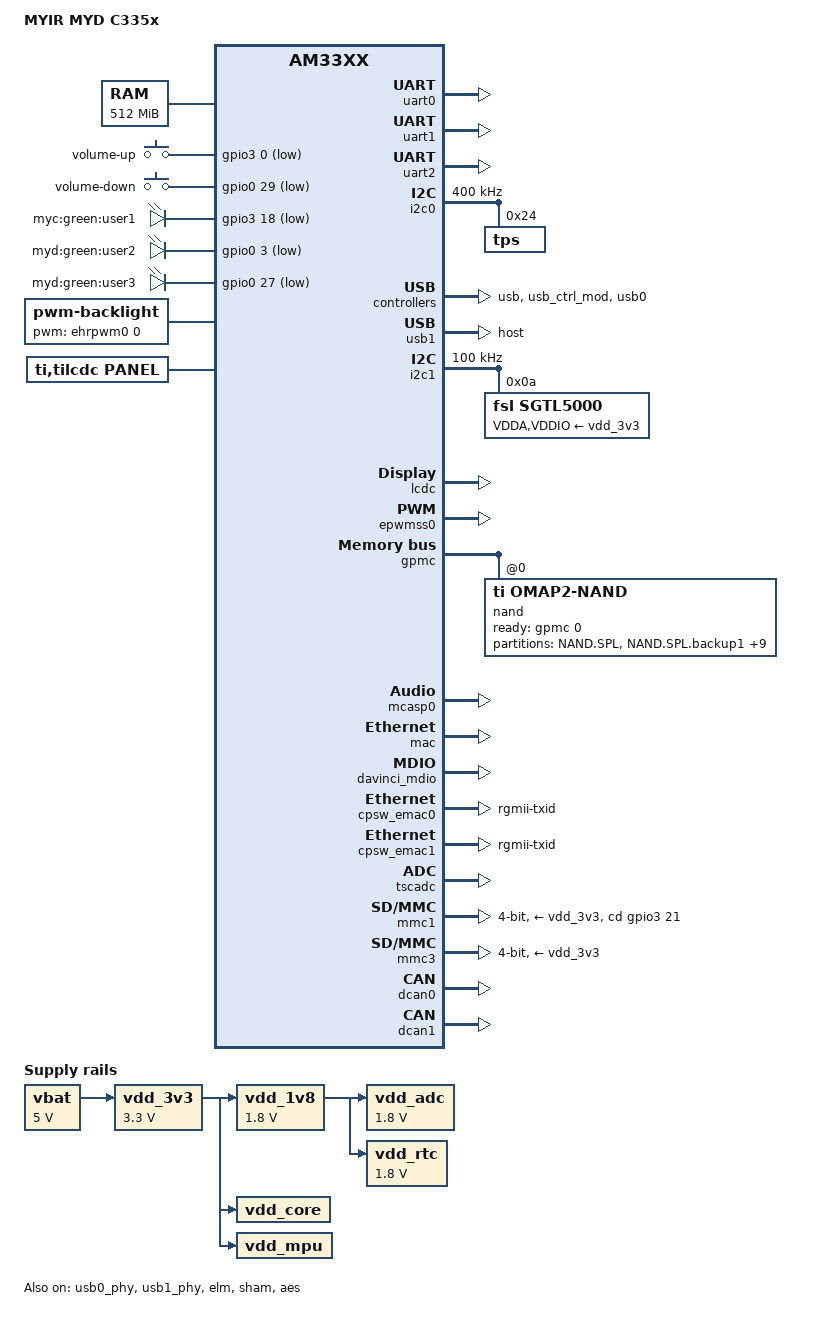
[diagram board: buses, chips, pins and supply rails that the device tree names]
/*
 * Copyright (C) 2012 Texas Instruments Incorporated - http://www.ti.com/
 *
 * This program is free software; you can redistribute it and/or modify
 * it under the terms of the GNU General Public License version 2 as
 * published by the Free Software Foundation.
 */
/dts-v1/;

#include "am33xx.dtsi"
#include <dt-bindings/interrupt-controller/irq.h>

/ {
	model = "MYIR MYD C335x";
	compatible = "ti,myd_c335x", "ti,am33xx";

	cpus {
		cpu@0 {
			cpu0-supply = <&vdd_core>;
		};
	};

	memory {
		device_type = "memory";
		reg = <0x80000000 0x20000000>; /* 512 MB */
	};

	vbat: fixedregulator@0 {
		compatible = "regulator-fixed";
		regulator-name = "vbat";
		regulator-min-microvolt = <5000000>;
		regulator-max-microvolt = <5000000>;
		regulator-boot-on;
		regulator-always-on;
	};
	
	vdd_3v3: fixedregulator@1{
		compatible = "regulator-fixed";
		regulator-name = "vdd_3v3";
		regulator-min-microvolt = <3300000>;
		regulator-max-microvolt = <3300000>;
		vin-supply = <&vbat>;
		regulator-boot-on;
		regulator-always-on;
		};
	
	vdd_1v8: fixedregulator@2{
		compatible = "regulator-fixed";
		regulator-name = "vdd_1v8";
		regulator-min-microvolt = <1800000>;
		regulator-max-microvolt = <1800000>;
		vin-supply = <&vdd_3v3>;
		regulator-boot-on;
		regulator-always-on;
		};
	
	vdd_core: fixedregulator@4{
		compatible = "regulator-fixed";
		regulator-name = "vdd_core";
		vin-supply = <&vdd_3v3>;
		regulator-boot-on;
		regulator-always-on;
		};
	
	vdd_mpu: fixedregulator@5{
		compatible = "regulator-fixed";
		regulator-name = "vdd_mpu";
		vin-supply = <&vdd_3v3>;
		regulator-boot-on;
		regulator-always-on;
		};
	
	vdd_adc: fixedregulator@6{
		compatible = "regulator-fixed";
		regulator-name = "vdd_adc";
		regulator-min-microvolt = <1800000>;
		regulator-max-microvolt = <1800000>;
		vin-supply = <&vdd_1v8>;
		regulator-boot-on;
		regulator-always-on;
		};
	
	vdd_rtc: fixedregulator@7{
		compatible = "regulator-fixed";
		regulator-name = "vdd_rtc";
		regulator-min-microvolt = <1800000>;
		regulator-max-microvolt = <1800000>;
		vin-supply = <&vdd_1v8>;
		regulator-boot-on;
		regulator-always-on;
		};

	gpio_keys: volume_keys@0 {
		compatible = "gpio-keys";
		#address-cells = <1>;
		#size-cells = <0>;
		autorepeat;

		switch@9 {
			label = "volume-up";
			linux,code = <115>;
			gpios = <&gpio3 0 GPIO_ACTIVE_LOW>;
			gpio-key,wakeup;
		};

		switch@10 {
			label = "volume-down";
			linux,code = <114>;
			gpios = <&gpio0 29 GPIO_ACTIVE_LOW>;
			gpio-key,wakeup;
		};
	};

	gpio-leds {
		compatible = "gpio-leds";
		pinctrl-names = "default";
		pinctrl-0 = <&leds_pins>;

		D3 {
			label = "myc:green:user1";
			gpios = <&gpio3 18 GPIO_ACTIVE_LOW>;
			linux,default-trigger = "cpu0";
			default-state = "off";
		};

		D39 {
			label = "myd:green:user2";
			gpios = <&gpio0 3 GPIO_ACTIVE_LOW>;
			default-state = "off";
		};

		D40 {
			label = "myd:green:user3";
			gpios = <&gpio0 27 GPIO_ACTIVE_LOW>;
			default-state = "off";
		};
	};
	
	backlight {
		compatible = "pwm-backlight";
		pwms = <&ehrpwm0 0 50000 0>;
		brightness-levels = <0 51 53 56 62 75 101 152 255>;
		default-brightness-level = <8>;
	};

	panel {
		compatible = "ti,tilcdc,panel";
		status = "okay";
		panel-info {
			ac-bias           = <255>;
			ac-bias-intrpt    = <0>;
			dma-burst-sz      = <16>;
			bpp               = <16>;
			fdd               = <0x80>;
			sync-edge         = <0>;
			sync-ctrl         = <1>;
			raster-order      = <0>;
			fifo-th           = <0>;
		};

		display-timings {
			800x480p62 {
				clock-frequency = <30000000>;
				hactive = <800>;
				vactive = <480>;
				hfront-porch = <39>;
				hback-porch = <39>;
				hsync-len = <47>;
				vback-porch = <29>;
				vfront-porch = <13>;
				vsync-len = <2>;
				hsync-active = <1>;
				vsync-active = <1>;
			};
		};
	};
	
	sound {
		compatible = "ti,sgtl5000-myd-audio";
		ti,model = "AM335x-MYD";
		ti,audio-codec = <&sgtl5000>;
		ti,mcasp-controller = <&mcasp0>;
		ti,codec-clock-rate = <12000000>;
		ti,audio-routing =
			"MIC_IN", "Mic Jack",
			"Mic Jack", "Mic Bias",
			"Headphone Jack", "HP_OUT";
	};
};

&am33xx_pinmux {
	pinctrl-names = "default";
	pinctrl-0 = <&volume_keys_s0>;

	volume_keys_s0: volume_keys_s0 {
		pinctrl-single,pins = <
			0x108 (PIN_INPUT_PULLDOWN | MUX_MODE7)	/* (H16) gmii1_col.gpio3[0] */
			0x144 (PIN_INPUT | MUX_MODE7 ) /* (H18) rmii1_refclk.gpio0[29] */
		>;
	};
	
	leds_pins: pinmux_leds_pins {
		pinctrl-single,pins = <
			0x154 (PIN_OUTPUT_PULLDOWN | MUX_MODE7)	/* spio_d0.gpio0_03 */
			0x2C (PIN_OUTPUT_PULLDOWN | MUX_MODE7)
			0x1A0 (PIN_OUTPUT_PULLDOWN | MUX_MODE7)
		>;
	};
	
	i2c0_pins: pinmux_i2c0_pins {
		pinctrl-single,pins = <
			0x188 (PIN_INPUT_PULLUP | MUX_MODE0)	/* i2c0_sda.i2c0_sda */
			0x18c (PIN_INPUT_PULLUP | MUX_MODE0)	/* i2c0_scl.i2c0_scl */
		>;
	};

	i2c1_pins_default: pinmux_i2c1_pins {
		pinctrl-single,pins = <
			0x158 (PIN_INPUT_PULLUP | MUX_MODE2)	/* spi0_d1.i2c1_sda */
			0x15c (PIN_INPUT_PULLUP | MUX_MODE2)	/* spi0_cs0.i2c1_scl */
		>;
	};

	i2c1_pins_sleep: i2c1_pins_sleep {
		pinctrl-single,pins = <
			0x158 (PIN_INPUT_PULLDOWN | MUX_MODE7)	/* spi0_d1.i2c1_sda */
			0x15c (PIN_INPUT_PULLDOWN | MUX_MODE7)	/* spi0_cs0.i2c1_scl */
		>;
	};

	uart0_pins: pinmux_uart0_pins {
		pinctrl-single,pins = <
			0x170 (PIN_INPUT_PULLUP | MUX_MODE0)	/* uart0_rxd.uart0_rxd */
			0x174 (PIN_OUTPUT_PULLDOWN | MUX_MODE0)	/* uart0_txd.uart0_txd */
		>;
	};

    uart1_pins_default: pinmux_uart1_pins_default {
        pinctrl-single,pins = <
			0x180 (PIN_INPUT_PULLUP | MUX_MODE0)    /* uart1_rxd.uart1_rxd */
			0x184 (PIN_OUTPUT_PULLDOWN | MUX_MODE0)         /* uart1_txd.uart1_txd */
                >;
        };

    uart1_pins_sleep: pinmux_uart1_pins_sleep {
		pinctrl-single,pins = <
			0x180 (PIN_INPUT_PULLDOWN | MUX_MODE7)
			0x184 (PIN_INPUT_PULLDOWN | MUX_MODE7)
                >;
        };


	uart2_pins_default: pinmux_uart2_pins_default {
		pinctrl-single,pins = <
			0x10c ( PIN_INPUT | MUX_MODE6 ) /* (H17) gmii1_crs.uart2_rxd */
			0x110 ( PIN_OUTPUT | MUX_MODE6 ) /* (J15) gmii1_rxer.uart2_txd */
		>;
	};

	uart2_pins_sleep: pinmux_uart2_pins_sleep {
		pinctrl-single,pins = <
			0x10C (PIN_INPUT_PULLDOWN | MUX_MODE7)
			0x110 (PIN_INPUT_PULLDOWN | MUX_MODE7)
		>;
	};

	nandflash_pins_default: nandflash_pins_default {
		pinctrl-single,pins = <
			0x0 (PIN_INPUT_PULLUP | MUX_MODE0)	/* gpmc_ad0.gpmc_ad0 */
			0x4 (PIN_INPUT_PULLUP | MUX_MODE0)	/* gpmc_ad1.gpmc_ad1 */
			0x8 (PIN_INPUT_PULLUP | MUX_MODE0)	/* gpmc_ad2.gpmc_ad2 */
			0xc (PIN_INPUT_PULLUP | MUX_MODE0)	/* gpmc_ad3.gpmc_ad3 */
			0x10 (PIN_INPUT_PULLUP | MUX_MODE0)	/* gpmc_ad4.gpmc_ad4 */
			0x14 (PIN_INPUT_PULLUP | MUX_MODE0)	/* gpmc_ad5.gpmc_ad5 */
			0x18 (PIN_INPUT_PULLUP | MUX_MODE0)	/* gpmc_ad6.gpmc_ad6 */
			0x1c (PIN_INPUT_PULLUP | MUX_MODE0)	/* gpmc_ad7.gpmc_ad7 */
			0x70 (PIN_INPUT_PULLUP | MUX_MODE0)	/* gpmc_wait0.gpmc_wait0 */
			0x74 (PIN_INPUT_PULLUP | MUX_MODE7)	/* gpmc_wpn.gpio0_30 */
			0x7c (PIN_OUTPUT | MUX_MODE0)		/* gpmc_csn0.gpmc_csn0  */
			0x90 (PIN_OUTPUT | MUX_MODE0)		/* gpmc_advn_ale.gpmc_advn_ale */
			0x94 (PIN_OUTPUT | MUX_MODE0)		/* gpmc_oen_ren.gpmc_oen_ren */
			0x98 (PIN_OUTPUT | MUX_MODE0)		/* gpmc_wen.gpmc_wen */
			0x9c (PIN_OUTPUT | MUX_MODE0)		/* gpmc_be0n_cle.gpmc_be0n_cle */
		>;
	};

	nandflash_pins_sleep: nandflash_pins_sleep {
		pinctrl-single,pins = <
			0x0 (PIN_INPUT_PULLDOWN | MUX_MODE7)
			0x4 (PIN_INPUT_PULLDOWN | MUX_MODE7)
			0x8 (PIN_INPUT_PULLDOWN | MUX_MODE7)
			0xc (PIN_INPUT_PULLDOWN | MUX_MODE7)
			0x10 (PIN_INPUT_PULLDOWN | MUX_MODE7)
			0x14 (PIN_INPUT_PULLDOWN | MUX_MODE7)
			0x18 (PIN_INPUT_PULLDOWN | MUX_MODE7)
			0x1c (PIN_INPUT_PULLDOWN | MUX_MODE7)
			0x70 (PIN_INPUT_PULLDOWN | MUX_MODE7)
			0x74 (PIN_INPUT_PULLDOWN | MUX_MODE7)
			0x7c (PIN_INPUT_PULLDOWN | MUX_MODE7)
			0x90 (PIN_INPUT_PULLDOWN | MUX_MODE7)
			0x94 (PIN_INPUT_PULLDOWN | MUX_MODE7)
			0x98 (PIN_INPUT_PULLDOWN | MUX_MODE7)
			0x9c (PIN_INPUT_PULLDOWN | MUX_MODE7)
		>;
	};

	ehrpwm0_pins_default: backlight_pins {
		pinctrl-single,pins = <
			0x150 0x3	/* (A17) spi0_sclk.ehrpwm0A */
		>;
	};

	ehrpwm0_pins_sleep: ehrpwm0_pins_sleep {
		pinctrl-single,pins = <
			0x150  (PIN_INPUT_PULLDOWN | MUX_MODE3)	/* (A17) spi0_sclk.ehrpwm0A */
		>;
	};

	cpsw_default: cpsw_default {
		pinctrl-single,pins = <
			/* Slave 1 */
			0x114 (PIN_OUTPUT_PULLDOWN | MUX_MODE2)	/* mii1_txen.rgmii1_tctl */
			0x118 (PIN_INPUT_PULLDOWN | MUX_MODE2)	/* mii1_rxdv.rgmii1_rctl */
			0x11c (PIN_OUTPUT_PULLDOWN | MUX_MODE2)	/* mii1_txd3.rgmii1_td3 */
			0x120 (PIN_OUTPUT_PULLDOWN | MUX_MODE2)	/* mii1_txd2.rgmii1_td2 */
			0x124 (PIN_OUTPUT_PULLDOWN | MUX_MODE2)	/* mii1_txd1.rgmii1_td1 */
			0x128 (PIN_OUTPUT_PULLDOWN | MUX_MODE2)	/* mii1_txd0.rgmii1_td0 */
			0x12c (PIN_OUTPUT_PULLDOWN | MUX_MODE2)	/* mii1_txclk.rgmii1_tclk */
			0x130 (PIN_INPUT_PULLDOWN | MUX_MODE2)	/* mii1_rxclk.rgmii1_rclk */
			0x134 (PIN_INPUT_PULLDOWN | MUX_MODE2)	/* mii1_rxd3.rgmii1_rd3 */
			0x138 (PIN_INPUT_PULLDOWN | MUX_MODE2)	/* mii1_rxd2.rgmii1_rd2 */
			0x13c (PIN_INPUT_PULLDOWN | MUX_MODE2)	/* mii1_rxd1.rgmii1_rd1 */
			0x140 (PIN_INPUT_PULLDOWN | MUX_MODE2)	/* mii1_rxd0.rgmii1_rd0 */
		/* Slave 2 */
	 		0x40  (MUX_MODE2 | PIN_OUTPUT_PULLDOWN)  /* gpmc_a0.rgmii2_tctl */
			0x44  (MUX_MODE2 | PIN_INPUT_PULLDOWN) /* gpmc_a1.rgmii2_rctl */
			0x48  (MUX_MODE2 | PIN_OUTPUT_PULLDOWN) /* gpmc_a2.rgmii2_td3 */
			0x4c  (MUX_MODE2 | PIN_OUTPUT_PULLDOWN) /* gpmc_a3.rgmii2_td2 */
			0x50  (MUX_MODE2 | PIN_OUTPUT_PULLDOWN) /* gpmc_a4.rgmii2_td1 */
			0x54  (MUX_MODE2 | PIN_OUTPUT_PULLDOWN) /* gpmc_a5.rgmii2_td0 */
			0x58  (MUX_MODE2 | PIN_OUTPUT_PULLDOWN) /* gpmc_a6.rgmii2_tclk */
			0x5c  (MUX_MODE2 | PIN_INPUT_PULLDOWN) /* gpmc_a7.rgmii2_rclk */
			0x60  (MUX_MODE2 | PIN_INPUT_PULLDOWN) /* gpmc_a8.rgmii2_rd3 */
			0x64  (MUX_MODE2 | PIN_INPUT_PULLDOWN) /* gpmc_a9.rgmii2_rd2 */
			0x68  (MUX_MODE2 | PIN_INPUT_PULLDOWN) /* gpmc_a10.rgmii2_rd1 */
			0x6c  (MUX_MODE2 | PIN_INPUT_PULLDOWN) /* gpmc_a11.rgmii2_rd0 */

		>;
	};

	cpsw_sleep: cpsw_sleep {
		pinctrl-single,pins = <
			/* Slave 1 reset value */
			0x114 (PIN_INPUT_PULLDOWN | MUX_MODE7)
			0x118 (PIN_INPUT_PULLDOWN | MUX_MODE7)
			0x11c (PIN_INPUT_PULLDOWN | MUX_MODE7)
			0x120 (PIN_INPUT_PULLDOWN | MUX_MODE7)
			0x124 (PIN_INPUT_PULLDOWN | MUX_MODE7)
			0x128 (PIN_INPUT_PULLDOWN | MUX_MODE7)
			0x12c (PIN_INPUT_PULLDOWN | MUX_MODE7)
			0x130 (PIN_INPUT_PULLDOWN | MUX_MODE7)
			0x134 (PIN_INPUT_PULLDOWN | MUX_MODE7)
			0x138 (PIN_INPUT_PULLDOWN | MUX_MODE7)
			0x13c (PIN_INPUT_PULLDOWN | MUX_MODE7)
			0x140 (PIN_INPUT_PULLDOWN | MUX_MODE7)
		/* Slave 2 reset value */
	 		0x40  (PIN_INPUT_PULLDOWN | MUX_MODE7)  /* gpmc_a0.rgmii2_tctl */
			0x44  (PIN_INPUT_PULLDOWN | MUX_MODE7) /* gpmc_a1.rgmii2_rctl */
			0x48  (PIN_INPUT_PULLDOWN | MUX_MODE7) /* gpmc_a2.rgmii2_td3 */
			0x4c  (PIN_INPUT_PULLDOWN | MUX_MODE7) /* gpmc_a3.rgmii2_td2 */
			0x50  (PIN_INPUT_PULLDOWN | MUX_MODE7) /* gpmc_a4.rgmii2_td1 */
			0x54  (PIN_INPUT_PULLDOWN | MUX_MODE7) /* gpmc_a5.rgmii2_td0 */
			0x58  (PIN_INPUT_PULLDOWN | MUX_MODE7) /* gpmc_a6.rgmii2_tclk */
			0x5c  (PIN_INPUT_PULLDOWN | MUX_MODE7) /* gpmc_a7.rgmii2_rclk */
			0x60  (PIN_INPUT_PULLDOWN | MUX_MODE7) /* gpmc_a8.rgmii2_rd3 */
			0x64  (PIN_INPUT_PULLDOWN | MUX_MODE7) /* gpmc_a9.rgmii2_rd2 */
			0x68  (PIN_INPUT_PULLDOWN | MUX_MODE7) /* gpmc_a10.rgmii2_rd1 */
			0x6c  (PIN_INPUT_PULLDOWN | MUX_MODE7) /* gpmc_a11.rgmii2_rd0 */
		>;
	};

	davinci_mdio_default: davinci_mdio_default {
		pinctrl-single,pins = <
			/* MDIO */
			0x148 (PIN_INPUT_PULLUP | SLEWCTRL_FAST | MUX_MODE0)	/* mdio_data.mdio_data */
			0x14c (PIN_OUTPUT_PULLUP | MUX_MODE0)			/* mdio_clk.mdio_clk */
		>;
	};

	davinci_mdio_sleep: davinci_mdio_sleep {
		pinctrl-single,pins = <
			/* MDIO reset value */
			0x148 (PIN_INPUT_PULLDOWN | MUX_MODE7)
			0x14c (PIN_INPUT_PULLDOWN | MUX_MODE7)
		>;
	};

	mmc1_pins_default: pinmux_mmc1_pins {
		pinctrl-single,pins = <
			0x0F0 (PIN_INPUT_PULLUP | MUX_MODE0)    /* mmc0_dat3.mmc0_dat3 */
			0x0F4 (PIN_INPUT_PULLUP | MUX_MODE0)    /* mmc0_dat2.mmc0_dat2 */
			0x0F8 (PIN_INPUT_PULLUP | MUX_MODE0)    /* mmc0_dat1.mmc0_dat1 */
			0x0FC (PIN_INPUT_PULLUP | MUX_MODE0)    /* mmc0_dat0.mmc0_dat0 */
			0x100 (PIN_INPUT_PULLUP | MUX_MODE0)    /* mmc0_clk.mmc0_clk */
			0x104 (PIN_INPUT_PULLUP | MUX_MODE0)    /* mmc0_cmd.mmc0_cmd */
			0x1AC (PIN_INPUT_PULLUP | MUX_MODE7)    /* mcasp0_ahclkx.gpio3_21 */
			
		>;
	};

	mmc1_pins_sleep: pinmux_mmc1_pins_sleep {
		pinctrl-single,pins = <
			0x0F0 (PIN_INPUT_PULLDOWN | MUX_MODE7)
			0x0F4 (PIN_INPUT_PULLDOWN | MUX_MODE7)
			0x0F8 (PIN_INPUT_PULLDOWN | MUX_MODE7)
			0x0FC (PIN_INPUT_PULLDOWN | MUX_MODE7)
			0x100 (PIN_INPUT_PULLDOWN | MUX_MODE7)
			0x104 (PIN_INPUT_PULLDOWN | MUX_MODE7)
			0x1AC (PIN_INPUT_PULLDOWN | MUX_MODE7)
		>;
	};

	/* wl12xx/wl18xx card on mmc3 */
	mmc3_pins: pinmux_mmc3_pins {
		pinctrl-single,pins = <
			0x30 (PIN_INPUT_PULLUP | MUX_MODE3)	/* gpmc_a12.mmc2_dat0, INPUT_PULLUP | MODE3 */
			0x34 (PIN_INPUT_PULLUP | MUX_MODE3)	/* gpmc_a13.mmc2_dat1, INPUT_PULLUP | MODE3 */
			0x38 (PIN_INPUT_PULLUP | MUX_MODE3)	/* gpmc_a14.mmc2_dat2, INPUT_PULLUP | MODE3 */
			0x3c (PIN_INPUT_PULLUP | MUX_MODE3)	/* gpmc_a15.mmc2_dat3, INPUT_PULLUP | MODE3 */
			0x88 (PIN_INPUT_PULLUP | MUX_MODE3)	/* gpmc_csn3.mmc2_cmd, INPUT_PULLUP | MODE3 */
			0x8C (PIN_INPUT_PULLUP | MUX_MODE3)	/* gpmc_clk.mmc2_clk, INPUT_PULLUP | MODE3 */
		>;
	};

	/* wl12xx/wl18xx card enable/irq GPIOs. */
	wlan_pins: pinmux_wlan_pins {
		pinctrl-single,pins = <
			0x20 (PIN_OUTPUT_PULLDOWN | MUX_MODE7)	/* WLAN_EN gpmc_ad7.gpio0_22 */
			0x24 (PIN_INPUT | MUX_MODE7)		/* BT_EN gpmc_ad9.gpio0_23 */
		>;
	};

	lcd_pins_default: lcd_pins_default {
		pinctrl-single,pins = <
//			0x20 (PIN_OUTPUT | MUX_MODE1)		/* gpmc_ad8.lcd_data23 */
//			0x24 (PIN_OUTPUT | MUX_MODE1)		/* gpmc_ad9.lcd_data22 */
//			0x28 (PIN_OUTPUT | MUX_MODE1)		/* gpmc_ad10.lcd_data21 */
//			0x2c (PIN_OUTPUT | MUX_MODE1)		/* gpmc_ad11.lcd_data20 */
//			0x30 (PIN_OUTPUT | MUX_MODE1)		/* gpmc_ad12.lcd_data19 */
//			0x34 (PIN_OUTPUT | MUX_MODE1)		/* gpmc_ad13.lcd_data18 */
//			0x38 (PIN_OUTPUT | MUX_MODE1)		/* gpmc_ad14.lcd_data17 */
//			0x3c (PIN_OUTPUT | MUX_MODE1)		/* gpmc_ad15.lcd_data16 */
			0xa0 (PIN_OUTPUT | MUX_MODE0)		/* lcd_data0.lcd_data0 */
			0xa4 (PIN_OUTPUT | MUX_MODE0)		/* lcd_data1.lcd_data1 */
			0xa8 (PIN_OUTPUT | MUX_MODE0)		/* lcd_data2.lcd_data2 */
			0xac (PIN_OUTPUT | MUX_MODE0)		/* lcd_data3.lcd_data3 */
			0xb0 (PIN_OUTPUT | MUX_MODE0)		/* lcd_data4.lcd_data4 */
			0xb4 (PIN_OUTPUT | MUX_MODE0)		/* lcd_data5.lcd_data5 */
			0xb8 (PIN_OUTPUT | MUX_MODE0)		/* lcd_data6.lcd_data6 */
			0xbc (PIN_OUTPUT | MUX_MODE0)		/* lcd_data7.lcd_data7 */
			0xc0 (PIN_OUTPUT | MUX_MODE0)		/* lcd_data8.lcd_data8 */
			0xc4 (PIN_OUTPUT | MUX_MODE0)		/* lcd_data9.lcd_data9 */
			0xc8 (PIN_OUTPUT | MUX_MODE0)		/* lcd_data10.lcd_data10 */
			0xcc (PIN_OUTPUT | MUX_MODE0)		/* lcd_data11.lcd_data11 */
			0xd0 (PIN_OUTPUT | MUX_MODE0)		/* lcd_data12.lcd_data12 */
			0xd4 (PIN_OUTPUT | MUX_MODE0)		/* lcd_data13.lcd_data13 */
			0xd8 (PIN_OUTPUT | MUX_MODE0)		/* lcd_data14.lcd_data14 */
			0xdc (PIN_OUTPUT | MUX_MODE0)		/* lcd_data15.lcd_data15 */
			0xe0 (PIN_OUTPUT | MUX_MODE0)		/* lcd_vsync.lcd_vsync */
			0xe4 (PIN_OUTPUT | MUX_MODE0)		/* lcd_hsync.lcd_hsync */
			0xe8 (PIN_OUTPUT | MUX_MODE0)		/* lcd_pclk.lcd_pclk */
			0xec (PIN_OUTPUT | MUX_MODE0)		/* lcd_ac_bias_en.lcd_ac_bias_en */
		>;
	};

	lcd_pins_sleep: lcd_pins_sleep {
		pinctrl-single,pins = <
//			0x20 (PIN_INPUT_PULLDOWN | MUX_MODE7)	/* gpmc_ad8.lcd_data16 */
//			0x24 (PIN_INPUT_PULLDOWN | MUX_MODE7)	/* gpmc_ad9.lcd_data17 */
//			0x28 (PIN_INPUT_PULLDOWN | MUX_MODE7)	/* gpmc_ad10.lcd_data18 */
//			0x2c (PIN_INPUT_PULLDOWN | MUX_MODE7)	/* gpmc_ad11.lcd_data19 */
//			0x30 (PIN_INPUT_PULLDOWN | MUX_MODE7)	/* gpmc_ad12.lcd_data20 */
//			0x34 (PIN_INPUT_PULLDOWN | MUX_MODE7)	/* gpmc_ad13.lcd_data21 */
//			0x38 (PIN_INPUT_PULLDOWN | MUX_MODE7)	/* gpmc_ad14.lcd_data22 */
//			0x3c (PIN_INPUT_PULLDOWN | MUX_MODE7)	/* gpmc_ad15.lcd_data23 */
			0xa0 (PULL_DISABLE | MUX_MODE7)		/* lcd_data0.lcd_data0 */
			0xa4 (PULL_DISABLE | MUX_MODE7)		/* lcd_data1.lcd_data1 */
			0xa8 (PULL_DISABLE | MUX_MODE7)		/* lcd_data2.lcd_data2 */
			0xac (PULL_DISABLE | MUX_MODE7)		/* lcd_data3.lcd_data3 */
			0xb0 (PULL_DISABLE | MUX_MODE7)		/* lcd_data4.lcd_data4 */
			0xb4 (PULL_DISABLE | MUX_MODE7)		/* lcd_data5.lcd_data5 */
			0xb8 (PULL_DISABLE | MUX_MODE7)		/* lcd_data6.lcd_data6 */
			0xbc (PULL_DISABLE | MUX_MODE7)		/* lcd_data7.lcd_data7 */
			0xc0 (PULL_DISABLE | MUX_MODE7)		/* lcd_data8.lcd_data8 */
			0xc4 (PULL_DISABLE | MUX_MODE7)		/* lcd_data9.lcd_data9 */
			0xc8 (PULL_DISABLE | MUX_MODE7)		/* lcd_data10.lcd_data10 */
			0xcc (PULL_DISABLE | MUX_MODE7)		/* lcd_data11.lcd_data11 */
			0xd0 (PULL_DISABLE | MUX_MODE7)		/* lcd_data12.lcd_data12 */
			0xd4 (PULL_DISABLE | MUX_MODE7)		/* lcd_data13.lcd_data13 */
			0xd8 (PULL_DISABLE | MUX_MODE7)		/* lcd_data14.lcd_data14 */
			0xdc (PULL_DISABLE | MUX_MODE7)		/* lcd_data15.lcd_data15 */
			0xe0 (PIN_INPUT_PULLDOWN | MUX_MODE7)	/* lcd_vsync.lcd_vsync, OUTPUT | MODE0 */
			0xe4 (PIN_INPUT_PULLDOWN | MUX_MODE7)	/* lcd_hsync.lcd_hsync */
			0xe8 (PIN_INPUT_PULLDOWN | MUX_MODE7)	/* lcd_pclk.lcd_pclk */
			0xec (PIN_INPUT_PULLDOWN | MUX_MODE7)	/* lcd_ac_bias_en.lcd_ac_bias_en */
		>;
	};

	am335x_evm_audio_pins: am335x_evm_audio_pins {
		pinctrl-single,pins = <
			0x190 (PIN_INPUT_PULLDOWN | MUX_MODE0) /* A13 "mcasp0_aclkx.mcasp0_aclkx" */
			0x194 (PIN_INPUT_PULLDOWN | MUX_MODE0) /* B13 "mcasp0_fsx.mcasp0_fsx" */
			0x19c (PIN_INPUT_PULLDOWN | MUX_MODE2) /* C12  "mcasp0_ahclkr.mcasp0_axr2" */
			0x1a8 (PIN_INPUT_PULLDOWN | MUX_MODE0) /* D13 "mcasp0_axr1.mcasp0_axr1" */
		>;
	};

	am335x_evm_audio_pins_sleep: am335x_evm_audio_pins_sleep {
		pinctrl-single,pins = <
			0x190 (PIN_INPUT_PULLDOWN | MUX_MODE7) /* A13 "mcasp0_aclkx.mcasp0_aclkx" */
			0x194 (PIN_INPUT_PULLDOWN | MUX_MODE7) /* B13 "mcasp0_fsx.mcasp0_fsx" */
			0x19c (PIN_INPUT_PULLDOWN | MUX_MODE7) /* C12  "mcasp0_ahclkr.mcasp0_axr2" */
			0x1a8 (PIN_INPUT_PULLDOWN | MUX_MODE7) /* D13 "mcasp0_axr1.mcasp0_axr1" */
		>;
	};

	dcan0_pins_default: dcan0_pins_default {
		pinctrl-single,pins = <
			0x178 (PIN_OUTPUT_PULLUP | MUX_MODE2) /* uart1_ctsn.d_can0_tx */
			0x17c (PIN_INPUT_PULLUP | MUX_MODE2) /* uart1_rtsn.d_can0_rx */
		>;
	};

	dcan1_pins_default: dcan1_pins_default {
		pinctrl-single,pins = <
			0x168 (PIN_OUTPUT_PULLUP | MUX_MODE2) /* uart0_ctsn.d_can1_tx */
			0x16c (PIN_INPUT_PULLUP | MUX_MODE2) /* uart0_rtsn.d_can1_rx */
		>;
	};	
};

&uart0 {
	pinctrl-names = "default";
	pinctrl-0 = <&uart0_pins>;

	status = "okay";
};


&uart1 {
	pinctrl-names = "default", "sleep";
	pinctrl-0 = <&uart1_pins_default>;
	pinctrl-1 = <&uart1_pins_sleep>;
//	rts-gpio = <&gpio3 2 GPIO_ACTIVE_HIGH>;
//	rs485-rx-during-tx;
//	rs485-rts-delay = <1 1>;
	linux,rs485-enabled-at-boot-time;
	status = "okay";
};

&uart2 {
	pinctrl-names = "default", "sleep";
	pinctrl-0 = <&uart2_pins_default>;
	pinctrl-1 = <&uart2_pins_sleep>;
	status = "okay";
};

&i2c0 {
	pinctrl-names = "default";
	pinctrl-0 = <&i2c0_pins>;

	status = "okay";
	clock-frequency = <400000>;

	tps: tps@2d {
		reg = <0x24>;
	};
};

&usb {
	status = "okay";
};

&usb_ctrl_mod {
	status = "okay";
};

&usb0_phy {
	status = "okay";
};

&usb1_phy {
	status = "okay";
};

&usb0 {
	status = "okay";
};

&usb1 {
	status = "okay";
	dr_mode = "host";
};

&cppi41dma  {
	status = "okay";
};

&i2c1 {
	pinctrl-names = "default", "sleep";
	pinctrl-0 = <&i2c1_pins_default>;
	pinctrl-1 = <&i2c1_pins_sleep>;

	status = "okay";
	clock-frequency = <100000>;

	sgtl5000: sgtl5000@0a {
		compatible = "fsl,sgtl5000";
		clocks=<&mcasp0_fck>;
		reg =<0x0a>;
        	micbias-resistor-k-ohms = <4>;
        	micbias-voltage-m-volts = <2250>;
		status = "okay";

		/* Regulators */
		VDDA-supply = <&vdd_3v3>;
		VDDIO-supply = <&vdd_3v3>;
	};

};

&lcdc {
	status = "okay";
	pinctrl-names = "default", "sleep";
	pinctrl-0 = <&lcd_pins_default>;
	pinctrl-1 = <&lcd_pins_sleep>;
};

&elm {
	status = "okay";
};

&epwmss0 {
	status = "okay";

	ehrpwm0: ehrpwm@48300200 {
		status = "okay";
		pinctrl-names = "default", "sleep";
		pinctrl-0 = <&ehrpwm0_pins_default>;
		pinctrl-1 = <&ehrpwm0_pins_sleep>;
	};
};

&gpmc {
	status = "okay";
	pinctrl-names = "default", "sleep";
	pinctrl-0 = <&nandflash_pins_default>;
	pinctrl-1 = <&nandflash_pins_sleep>;
	ranges = <0 0 0x08000000 0x1000000>;	/* CS0: 16MB for NAND */
	nand@0,0 {
		compatible = "ti,omap2-nand";
		reg = <0 0 4>; /* CS0, offset 0, IO size 4 */
		interrupt-parent = <&intc>;
		interrupts = <100>;
		ready-gpio = <&gpmc 0 GPIO_ACTIVE_HIGH>; /* gpmc_wait0 */
		ti,nand-ecc-opt = "bch8";
		ti,elm-id = <&elm>;
		nand-bus-width = <8>;
		gpmc,device-width = <1>;
		gpmc,sync-clk-ps = <0>;
		gpmc,cs-on-ns = <0>;
		gpmc,cs-rd-off-ns = <44>;
		gpmc,cs-wr-off-ns = <44>;
		gpmc,adv-on-ns = <6>;
		gpmc,adv-rd-off-ns = <34>;
		gpmc,adv-wr-off-ns = <44>;
		gpmc,we-on-ns = <0>;
		gpmc,we-off-ns = <40>;
		gpmc,oe-on-ns = <0>;
		gpmc,oe-off-ns = <54>;
		gpmc,access-ns = <64>;
		gpmc,rd-cycle-ns = <82>;
		gpmc,wr-cycle-ns = <82>;
		gpmc,bus-turnaround-ns = <0>;
		gpmc,cycle2cycle-delay-ns = <0>;
		gpmc,clk-activation-ns = <0>;
		gpmc,wr-access-ns = <40>;
		gpmc,wr-data-mux-bus-ns = <0>;
		/* MTD partition table */
		/* All SPL-* partitions are sized to minimal length
		 * which can be independently programmable. For
		 * NAND flash this is equal to size of erase-block */
		#address-cells = <1>;
		#size-cells = <1>;
		partition@0 {
			label = "NAND.SPL";
			reg = <0x00000000 0x000020000>;
		};
		partition@1 {
			label = "NAND.SPL.backup1";
			reg = <0x00020000 0x00020000>;
		};
		partition@2 {
			label = "NAND.SPL.backup2";
			reg = <0x00040000 0x00020000>;
		};
		partition@3 {
			label = "NAND.SPL.backup3";
			reg = <0x00060000 0x00020000>;
		};
		partition@4 {
			label = "NAND.u-boot-spl-os";
			reg = <0x00080000 0x00040000>;
		};
		partition@5 {
			label = "NAND.u-boot";
			reg = <0x000C0000 0x00100000>;
		};
		partition@6 {
			label = "NAND.u-boot-env";
			reg = <0x001C0000 0x00020000>;
		};
		partition@7 {
			label = "NAND.u-boot-env.backup1";
			reg = <0x001E0000 0x00020000>;
		};
		partition@8 {
			label = "NAND.kernel";
			reg = <0x00200000 0x00800000>;
		};
		partition@9 {
			label = "NAND.rootfs";
			reg = <0x00A00000 0x07600000>;
		};
		partition@10 {
			label = "NAND.userdata";
			reg = <0x08000000 0x08000000>;
		};		
	};
};

&mcasp0 {
		pinctrl-names = "default", "sleep";
		pinctrl-0 = <&am335x_evm_audio_pins>;
		pinctrl-1 = <&am335x_evm_audio_pins_sleep>;

		status = "okay";

		op-mode = <0>;          /* MCASP_IIS_MODE */
		tdm-slots = <2>;
		/* 4 serializers */
		serial-dir = <  /* 0: INACTIVE, 1: TX, 2: RX */
			0 1 2 0
			0 0 0 0
			0 0 0 0
			0 0 0 0
		>;
		tx-num-evt = <1>;
		rx-num-evt = <1>;
};

&mac {
	slaves = <2>;
	pinctrl-names = "default", "sleep";
	pinctrl-0 = <&cpsw_default>;
	pinctrl-1 = <&cpsw_sleep>;
	dual_emac = <1>;
//	active_slave = <1>;
	status = "okay";
};

&davinci_mdio {
	pinctrl-names = "default", "sleep";
	pinctrl-0 = <&davinci_mdio_default>;
	pinctrl-1 = <&davinci_mdio_sleep>;
	status = "okay";
};

&cpsw_emac0 {
	phy_id = <&davinci_mdio>, <4>;
	phy-mode = "rgmii-txid";
//	dual_emac_res_vlan=<0>;
};

&cpsw_emac1 {
	phy_id = <&davinci_mdio>, <6>;
	phy-mode = "rgmii-txid";
//	dual_emac_res_vlan=<1>;
};

&tscadc {
	status = "okay";
	tsc {
		ti,wires = <4>;
		ti,x-plate-resistance = <200>;
		ti,coordinate-readouts = <5>;
		ti,wire-config = <0x00 0x11 0x22 0x33>;
		ti,charge-delay = <0x400>;
	};

	adc {
		ti,adc-channels = <0 1 2 3>;
	};
};

&mmc1 {
	status = "okay";
	vmmc-supply = <&vdd_3v3>;
	bus-width = <4>;
	pinctrl-names = "default", "sleep";
	pinctrl-0 = <&mmc1_pins_default>;
	pinctrl-1 = <&mmc1_pins_sleep>;
	cd-gpios = <&gpio3 21 GPIO_ACTIVE_HIGH>;
};

&mmc3 {
	/* these are on the crossbar and are outlined in the
	   xbar-event-map element */
	dmas = <&edma_xbar 12 0 1
		&edma_xbar 13 0 2>;
	dma-names = "tx", "rx";
	status = "okay";
	vmmc-supply = <&vdd_3v3>;
	bus-width = <4>;
	max-frequency = <25000000>;
	pinctrl-names = "default";
	pinctrl-0 = <&mmc3_pins>;
	ti,non-removable;
	ti,needs-special-hs-handling;
	cap-power-off-card;
	keep-power-in-suspend;
	};

&sham {
	status = "okay";
};

&aes {
	status = "okay";
};

&dcan0 {
	status = "okay";
	pinctrl-names = "default";
	pinctrl-0 = <&dcan0_pins_default>;
};

&dcan1 {
	status = "okay";
	pinctrl-names = "default";
	pinctrl-0 = <&dcan1_pins_default>;
};

&wkup_m3_ipc {
	ti,scale-data-fw = "am335x-evm-scale-data.bin";
};

&rtc {
	system-power-controller;
};

&sgx {
	status = "disabled";
};
